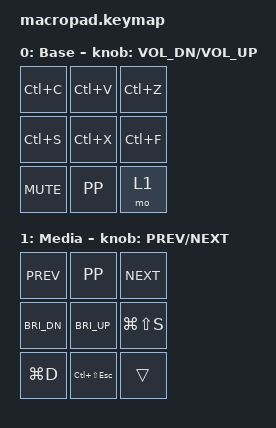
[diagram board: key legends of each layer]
#include <behaviors.dtsi>
#include <dt-bindings/zmk/keys.h>
#include <dt-bindings/zmk/bt.h>
#include <dt-bindings/zmk/outputs.h>

/ {
    keymap {
        compatible = "zmk,keymap";

        // Layer 0 — base
        base_layer {
            label = "Base";
            bindings = <
                &kp LC(C)   &kp LC(V)   &kp LC(Z)
                &kp LC(S)   &kp LC(X)   &kp LC(F)
                &kp K_MUTE  &kp K_PP    &mo 1
            >;

            sensor-bindings = <&inc_dec_kp K_VOL_DN K_VOL_UP>;
        };

        // Layer 1 — media and shortcuts
        media_layer {
            label = "Media";
            bindings = <
                &kp K_PREV          &kp K_PP            &kp K_NEXT
                &kp C_BRI_DN        &kp C_BRI_UP        &kp LG(LS(S))
                &kp LG(D)           &kp LC(LS(ESC))     &trans
            >;

            sensor-bindings = <&inc_dec_kp K_PREV K_NEXT>;
        };
    };
};
